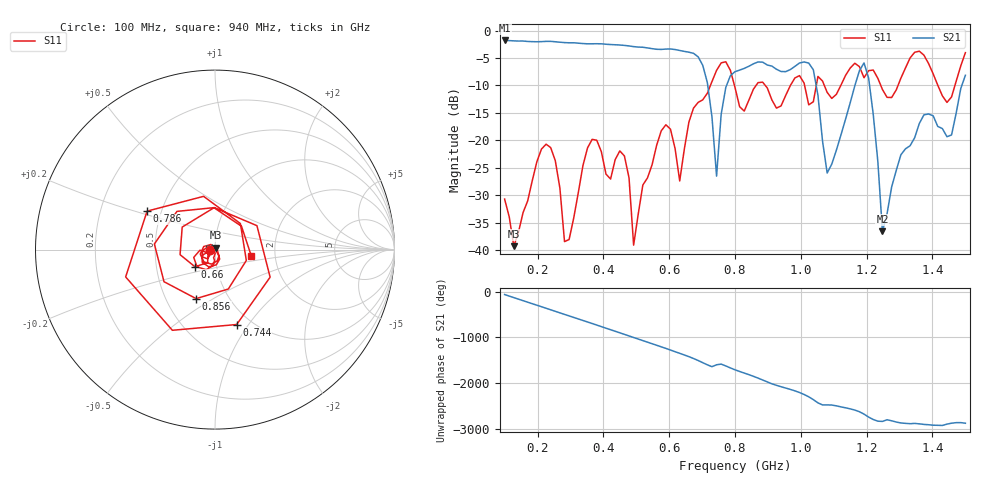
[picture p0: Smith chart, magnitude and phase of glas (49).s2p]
! NanoVNA-App
! Date: 2025-09-26 09:39:13
! Start: 100MHz Stop: 1,5GHz Points: 101
! S-Parameter data: F S11 S21 S12 S22
# Hz S RI R 50
!  Frequency  S11_Real  S11_Imag  S21_Real  S21_Imag  S12_Real  S12_Imag  S22_Real  S22_Imag
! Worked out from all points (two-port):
!   101 points, 100 MHz to 1.5 GHz, reference 50 ohm
!   highest |S21| = -1.79 dB at 100 MHz (marker M1); lowest = -36.6 dB at 1.248 GHz (marker M2)
!   |S21| within 3 dB of the highest: start of sweep to 688.1 MHz
!   lowest |S11| = -39.3 dB at 128 MHz (marker M3), VSWR 1.02, Z = 50.3 + j1.05 ohm
!   |S11| at or under -10 dB: start of sweep to 725.3 MHz; 798.4 MHz to 863.9 MHz (65.49 MHz wide, 7.88 % of centre); 892.1 MHz to 968.3 MHz (76.14 MHz wide, 8.19 % of centre) (the widest 3 of 7)
!   S12 and S22 are empty: the file has one direction only
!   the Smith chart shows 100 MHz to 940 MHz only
!   S11 on the Smith chart (normalised r, x): 100 MHz: 0.94, -0.01; 660 MHz: 0.79, -0.15; 744 MHz: 0.86, -0.88; 786 MHz: 0.42, +0.22; 856 MHz: 0.71, -0.42; 940 MHz: 1.50, -0.12
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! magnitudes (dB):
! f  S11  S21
! 100 MHz  -30.7  -1.8
! 128 MHz  -39.3  -1.9
! 212 MHz  -21.6  -2.0
! 282 MHz  -38.5  -2.2
! 338 MHz  -24.6  -2.4
! 464 MHz  -22.9  -2.7
! 492 MHz  -39.1  -2.9
! 576 MHz  -18.3  -3.4
! 632 MHz  -27.4  -3.6
! 660 MHz  -16.7  -3.9
! 716 MHz  -11.4  -9.5
! 744 MHz  -7.2  -26.5
! 786 MHz  -7.2  -8.2
! 800 MHz  -10.4  -7.5
! 856 MHz  -10.7  -6.0
! 940 MHz  -13.7  -7.4
! 1.038 GHz  -13.0  -7.1
! 1.08 GHz  -11.3  -26.0
! 1.192 GHz  -8.6  -5.9
! 1.248 GHz  -10.7  -36.6
! 1.276 GHz  -12.2  -28.5
! 1.5 GHz  -4.0  -8.1
